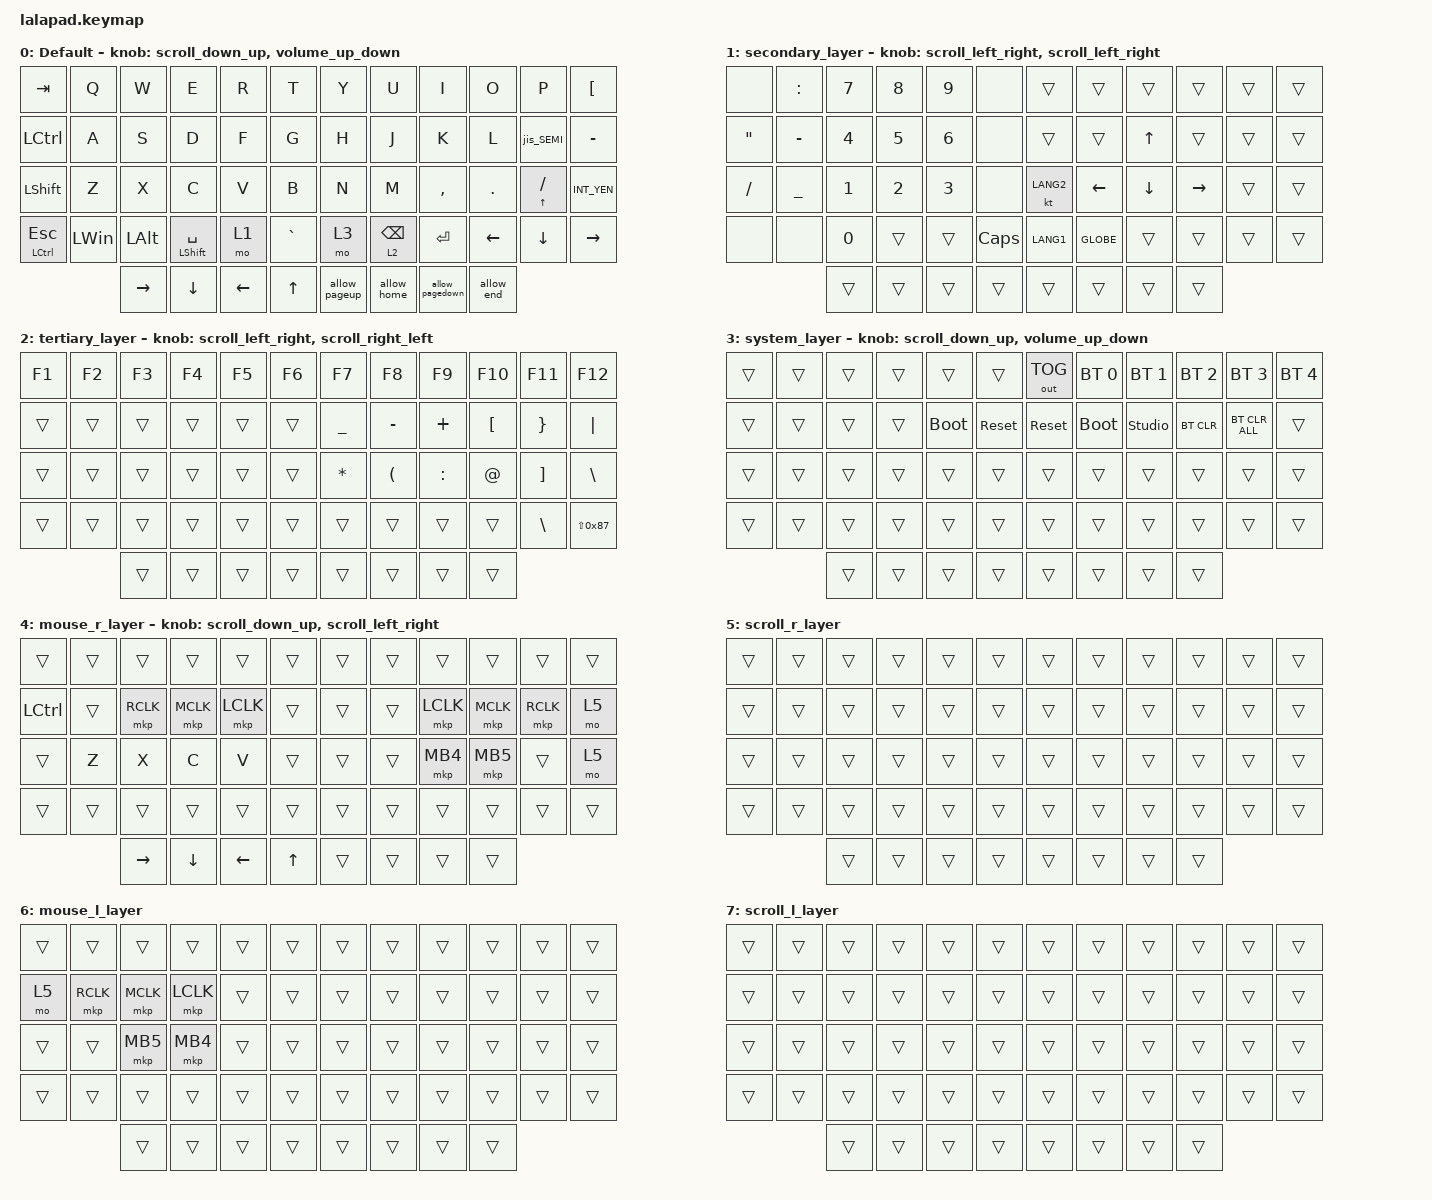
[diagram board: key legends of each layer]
#include <input/processors.dtsi>
#include <behaviors.dtsi>
#include <dt-bindings/zmk/bt.h>
#include <dt-bindings/zmk/keys.h>
#include <dt-bindings/zmk/outputs.h>
#include <dt-bindings/zmk/pointing.h>

// OS設定を日本語キーボードのまま使用するための変換定義

#define JP_DQUOTE       AT                // "
#define JP_AMPERSAND    CARET             // &
#define JP_QUOTE        AMPERSAND         // '
#define JP_EQUAL        UNDER             // =
#define JP_CARET        EQUAL             // ^
#define JP_YEN          0x89              // ¥
#define JP_PLUS         COLON             // +
#define JP_TILDE        PLUS              // ~
#define JP_PIPE         LS(0x89)          // |
#define JP_AT           LEFT_BRACKET      // @

// #define JP_COLON        SINGLE_QUOTE      // :

#define JP_ASTERISK     DOUBLE_QUOTES     // *
#define JP_BACKQUOTE    LEFT_BRACE        // `
#define JP_UNDERSCORE   LS(0x87)          // _
#define JP_LBRACKET     RIGHT_BRACKET     // [
#define JP_RBRACKET     BACKSLASH         // ]
#define JP_LPAREN       ASTERISK          // (
#define JP_RPAREN       LEFT_PARENTHESIS  // )
#define JP_LBRACE       RIGHT_BRACE       // {
#define JP_RBRACE       PIPE              // }
#define JP_KANA         LANGUAGE_1        // かな
#define JP_EISU         LANGUAGE_2        // 英数
#define JP_HANZEN       GRAVE             // 半角/全角
#define DEFAULT_LAYER   0
#define SECONDARY_LAYER 1
#define TERTIARY_LAYER  2
#define SYSTEM_LAYER    3
#define MOUSE_R_LAYER   4
#define SCROLL_R_LAYER  5
#define MOUSE_L_LAYER   6
#define SCROLL_L_LAYER  7

// Mouse Scroll Value

#define ZMK_POINTING_DEFAULT_SCRL_VAL 100

// cirque trackpad input&layer control

&glidepoint_listener_R {
    input-processors =
        <&zip_xy_transform (INPUT_TRANSFORM_XY_SWAP | INPUT_TRANSFORM_X_INVERT | INPUT_TRANSFORM_Y_INVERT)>,
        <&zip_xy_scaler 3 2>,
        <&zip_temp_layer MOUSE_R_LAYER 500>;

    lowspeedmode {
        layers = <SECONDARY_LAYER>;
        input-processors =
            <&zip_xy_transform (INPUT_TRANSFORM_XY_SWAP | INPUT_TRANSFORM_X_INVERT | INPUT_TRANSFORM_Y_INVERT)>,
            <&zip_xy_scaler 3 5>,
            <&zip_temp_layer MOUSE_R_LAYER 500>;
    };

    scroller {
        layers = <SCROLL_R_LAYER>;
        input-processors =
            <&zip_xy_to_scroll_mapper>,
            <&zip_scroll_transform (INPUT_TRANSFORM_XY_SWAP | INPUT_TRANSFORM_Y_INVERT)>,
            <&zip_scroll_scaler 1 8>;
    };
};

&glidepoint_listener_L {
    input-processors =
        <&zip_xy_transform (INPUT_TRANSFORM_XY_SWAP | INPUT_TRANSFORM_X_INVERT | INPUT_TRANSFORM_Y_INVERT)>,
        <&zip_xy_scaler 3 2>,
        <&zip_temp_layer MOUSE_L_LAYER 500>;

    lowspeedmode {
        layers = <SECONDARY_LAYER>;
        input-processors =
            <&zip_xy_transform (INPUT_TRANSFORM_XY_SWAP | INPUT_TRANSFORM_X_INVERT | INPUT_TRANSFORM_Y_INVERT)>,
            <&zip_xy_scaler 3 4>,
            <&zip_temp_layer MOUSE_L_LAYER 500>;
    };

    scroller {
        layers = <SCROLL_L_LAYER>;
        input-processors =
            <&zip_xy_to_scroll_mapper>,
            <&zip_scroll_transform (INPUT_TRANSFORM_XY_SWAP | INPUT_TRANSFORM_Y_INVERT)>,
            <&zip_scroll_scaler 1 6>;
    };
};

/ {
    behaviors {
        // Encoder to Mouse Scroll

        scroll_up_down: behavior_sensor_rotate_mouse_wheel_up_down {
            compatible = "zmk,behavior-sensor-rotate";
            #sensor-binding-cells = <0>;
            bindings = <&msc SCRL_UP>, <&msc SCRL_DOWN>;

            tap-ms = <20>;
        };

        scroll_down_up: behavior_sensor_rotate_mouse_wheel_down_up {
            compatible = "zmk,behavior-sensor-rotate";
            #sensor-binding-cells = <0>;
            bindings = <&msc SCRL_DOWN>, <&msc SCRL_UP>;

            tap-ms = <20>;
        };

        scroll_left_right: behavior_sensor_rotate_mouse_wheel_left_right {
            compatible = "zmk,behavior-sensor-rotate";
            #sensor-binding-cells = <0>;
            bindings = <&msc SCRL_LEFT>, <&msc SCRL_RIGHT>;

            tap-ms = <20>;
        };

        scroll_right_left: behavior_sensor_rotate_mouse_wheel_right_left {
            compatible = "zmk,behavior-sensor-rotate";
            #sensor-binding-cells = <0>;
            bindings = <&msc SCRL_RIGHT>, <&msc SCRL_LEFT>;

            tap-ms = <20>;
        };

        volume_up_down: behavior_sensor_rotate_volume_up_down {
            compatible = "zmk,behavior-sensor-rotate";
            #sensor-binding-cells = <0>;
            bindings = <&kp C_VOLUME_UP>, <&kp C_VOLUME_DOWN>;

            tap-ms = <20>;
        };

        dot_comma: dot_comma {
            compatible = "zmk,behavior-mod-morph";
            #binding-cells = <0>;
            bindings = <&kp KP_DOT>, <&kp COMMA>;

            mods = <(MOD_LSFT|MOD_RSFT)>;
            label = "DOT_COMMA";
        };

        pls_minus: pls_minus {
            compatible = "zmk,behavior-mod-morph";
            #binding-cells = <0>;
            bindings = <&kp PLUS>, <&kp MINUS>;

            mods = <(MOD_LSFT|MOD_RSFT)>;
            label = "PLS_MINUS";
        };

        allow_pageup: allow_pageup {
            compatible = "zmk,behavior-mod-morph";
            #binding-cells = <0>;
            bindings = <&kp UP>, <&kp PAGE_UP>;

            mods = <(MOD_LCTL|MOD_RCTL)>;
            label = "ALLOW_PAGEUP";
        };

        allow_pagedown: allow_pagedown {
            compatible = "zmk,behavior-mod-morph";
            #binding-cells = <0>;
            bindings = <&kp DOWN>, <&kp PAGE_DOWN>;

            mods = <(MOD_LCTL|MOD_RCTL)>;
            label = "ALLOW_PAGEDOWN";
        };

        allow_home: allow_home {
            compatible = "zmk,behavior-mod-morph";
            #binding-cells = <0>;
            bindings = <&kp LEFT>, <&kp HOME>;

            mods = <(MOD_LCTL|MOD_RCTL)>;
            label = "ALLOW_HOME";
        };

        allow_end: allow_end {
            compatible = "zmk,behavior-mod-morph";
            #binding-cells = <0>;
            bindings = <&kp RIGHT>, <&kp END>;

            mods = <(MOD_LCTL|MOD_RCTL)>;
            label = "ALLOW_END";
        };

        mt2: mod_tap2 {
            compatible = "zmk,behavior-hold-tap";
            #binding-cells = <2>;
            flavor = "tap-preferred";
            tapping-term-ms = <200>;
            quick-tap-ms = <200>;
            require-prior-idle-ms = <125>;
            bindings = <&kp>, <&kp>;
        };

        //コロンセミコロン

        jis_SEMI: jis_SEMI {
            compatible = "zmk,behavior-mod-morph";
            label = "jis_SEMI";
            #binding-cells = <0>;
            bindings = <&kp SEMI>, <&kp SQT>;

            mods = <(MOD_LSFT|MOD_RSFT)>;

            //keep-mods = <(MOD_LSFT|MOD_RSFT)>;
        };
    };

    combos {
        compatible = "zmk,combos";

        delete {
            bindings = <&kp DELETE>;
            key-positions = <46 47>;
        };

        backspace {
            bindings = <&kp BACKSPACE>;
            key-positions = <43 44>;
        };
    };

    keymap {
        compatible = "zmk,keymap";

        WIN_DEFAULT_LAYER {
            display-name = "Default";
            sensor-bindings = <&scroll_down_up>, <&volume_up_down>;

            bindings = <
&kp TAB                  &kp Q         &kp W         &kp E                 &kp R     &kp T         &kp Y          &kp U            &kp I            &kp O       &kp P          &kp JP_AT
&kp LEFT_CONTROL         &kp A         &kp S         &kp D                 &kp F     &kp G         &kp H          &kp J            &kp K            &kp L       &jis_SEMI      &kp MINUS
&kp LSHFT                &kp Z         &kp X         &kp C                 &kp V     &kp B         &kp N          &kp M            &kp COMMA        &kp PERIOD  &mt2 UP SLASH  &kp INT_YEN
&mt LEFT_CONTROL ESCAPE  &kp LEFT_WIN  &kp LEFT_ALT  &mt LEFT_SHIFT SPACE  &mo 1     &kp GRAVE     &mo 3          &lt 2 BACKSPACE  &kp ENTER        &kp LEFT    &kp DOWN       &kp RIGHT
                                       &kp RIGHT     &kp DOWN_ARROW        &kp LEFT  &kp UP_ARROW  &allow_pageup  &allow_home      &allow_pagedown  &allow_end
            >;
        };

        NUM_LAYER {
            display-name = "secondary_layer";
            sensor-bindings = <&scroll_left_right>, <&scroll_left_right>;

            bindings = <
&none            &kp JP_PLUS   &kp NUMBER_7  &kp NUMBER_8  &kp NUMBER_9  &none     &trans     &trans          &trans          &trans           &trans  &trans
&kp JP_ASTERISK  &kp MINUS     &kp NUMBER_4  &kp NUMBER_5  &kp NUMBER_6  &none     &trans     &trans          &kp UP_ARROW    &trans           &trans  &trans
&kp SLASH        &kp JP_EQUAL  &kp NUMBER_1  &kp NUMBER_2  &kp NUMBER_3  &none     &kt LANG2  &kp LEFT_ARROW  &kp DOWN_ARROW  &kp RIGHT_ARROW  &trans  &trans
&none            &none         &kp NUMBER_0  &trans        &trans        &kp CAPS  &kp LANG1  &kp GLOBE       &trans          &trans           &trans  &trans
                               &trans        &trans        &trans        &trans    &trans     &trans          &trans          &trans
            >;
        };

        SYMBOL_LAYER {
            display-name = "tertiary_layer";
            bindings = <
&kp F1  &kp F2  &kp F3  &kp F4  &kp F5  &kp F6  &kp F7         &kp F8         &kp F9        &kp F10        &kp F11          &kp F12
&trans  &trans  &trans  &trans  &trans  &trans  &kp JP_EQUAL   &kp MINUS      &kp JP_TILDE  &kp JP_AT      &kp JP_LBRACE    &kp JP_RBRACE
&trans  &trans  &trans  &trans  &trans  &trans  &kp JP_LPAREN  &kp JP_RPAREN  &kp JP_PLUS   &kp JP_DQUOTE  &kp JP_LBRACKET  &kp JP_RBRACKET
&trans  &trans  &trans  &trans  &trans  &trans  &trans         &trans         &trans        &trans         &kp BACKSLASH    &kp JP_UNDERSCORE
                &trans  &trans  &trans  &trans  &trans         &trans         &trans        &trans
            >;

            sensor-bindings = <&scroll_left_right>, <&scroll_right_left>;
        };

        SYSTEM_LAYER {
            display-name = "system_layer";
            sensor-bindings = <&scroll_down_up>, <&volume_up_down>;

            bindings = <
&trans  &trans  &trans  &trans  &trans       &trans      &out OUT_TOG  &bt BT_SEL 0  &bt BT_SEL 1    &bt BT_SEL 2  &bt BT_SEL 3    &bt BT_SEL 4
&trans  &trans  &trans  &trans  &bootloader  &sys_reset  &sys_reset    &bootloader   &studio_unlock  &bt BT_CLR    &bt BT_CLR_ALL  &trans
&trans  &trans  &trans  &trans  &trans       &trans      &trans        &trans        &trans          &trans        &trans          &trans
&trans  &trans  &trans  &trans  &trans       &trans      &trans        &trans        &trans          &trans        &trans          &trans
                &trans  &trans  &trans       &trans      &trans        &trans        &trans          &trans
            >;
        };

        MOUSE_R_LAYER {
            display-name = "mouse_r_layer";
            bindings = <
&trans            &trans  &trans           &trans          &trans          &trans        &trans  &trans  &trans     &trans     &trans     &trans
&kp LEFT_CONTROL  &trans  &mkp RCLK        &mkp MCLK       &mkp LCLK       &trans        &trans  &trans  &mkp LCLK  &mkp MCLK  &mkp RCLK  &mo 5
&trans            &kp Z   &kp X            &kp C           &kp V           &trans        &trans  &trans  &mkp MB4   &mkp MB5   &trans     &mo 5
&trans            &trans  &trans           &trans          &trans          &trans        &trans  &trans  &trans     &trans     &trans     &trans
                          &kp RIGHT_ARROW  &kp DOWN_ARROW  &kp LEFT_ARROW  &kp UP_ARROW  &trans  &trans  &trans     &trans
            >;

            sensor-bindings = <&scroll_down_up>, <&scroll_left_right>;
        };

        SCROLL_R_LAYER {
            display-name = "scroll_r_layer";
            bindings = <
&trans  &trans  &trans  &trans  &trans  &trans  &trans  &trans  &trans  &trans  &trans  &trans
&trans  &trans  &trans  &trans  &trans  &trans  &trans  &trans  &trans  &trans  &trans  &trans
&trans  &trans  &trans  &trans  &trans  &trans  &trans  &trans  &trans  &trans  &trans  &trans
&trans  &trans  &trans  &trans  &trans  &trans  &trans  &trans  &trans  &trans  &trans  &trans
                &trans  &trans  &trans  &trans  &trans  &trans  &trans  &trans
            >;
        };

        MOUSE_L_LAYER {
            display-name = "mouse_l_layer";
            bindings = <
&trans  &trans     &trans     &trans     &trans  &trans  &trans  &trans  &trans  &trans  &trans  &trans
&mo 5   &mkp RCLK  &mkp MCLK  &mkp LCLK  &trans  &trans  &trans  &trans  &trans  &trans  &trans  &trans
&trans  &trans     &mkp MB5   &mkp MB4   &trans  &trans  &trans  &trans  &trans  &trans  &trans  &trans
&trans  &trans     &trans     &trans     &trans  &trans  &trans  &trans  &trans  &trans  &trans  &trans
                   &trans     &trans     &trans  &trans  &trans  &trans  &trans  &trans
            >;
        };

        SCROLL_L_LAYER {
            display-name = "scroll_l_layer";
            bindings = <
&trans  &trans  &trans  &trans  &trans  &trans  &trans  &trans  &trans  &trans  &trans  &trans
&trans  &trans  &trans  &trans  &trans  &trans  &trans  &trans  &trans  &trans  &trans  &trans
&trans  &trans  &trans  &trans  &trans  &trans  &trans  &trans  &trans  &trans  &trans  &trans
&trans  &trans  &trans  &trans  &trans  &trans  &trans  &trans  &trans  &trans  &trans  &trans
                &trans  &trans  &trans  &trans  &trans  &trans  &trans  &trans
            >;
        };
    };
};
